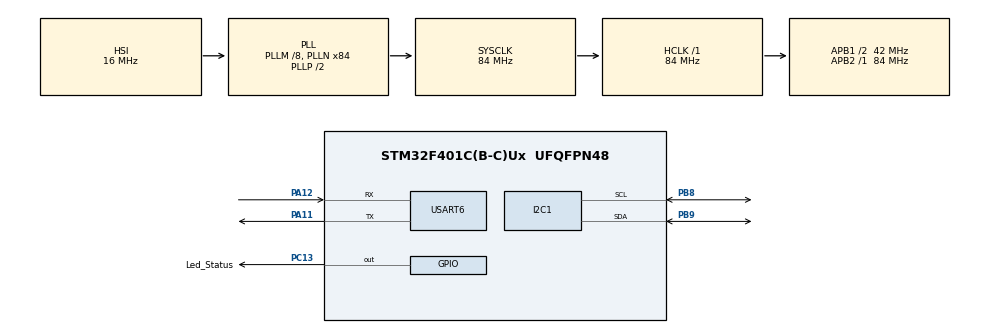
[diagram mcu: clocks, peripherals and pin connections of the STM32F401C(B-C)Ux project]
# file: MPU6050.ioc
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I2C1.I2C_Mode=I2C_Standard
Mcu.Family=STM32F4
Mcu.Name=STM32F401C(B-C)Ux
Mcu.Package=UFQFPN48
NVIC.PriorityGroup=NVIC_PRIORITYGROUP_4
NVIC.TIM2_IRQn=true\:0\:0\:false\:false\:true\:true\:true\:true
PA11.Mode=Asynchronous
PA11.Signal=USART6_TX
PA12.Mode=Asynchronous
PA12.Signal=USART6_RX
PA13.Mode=Serial_Wire
PA13.Signal=SYS_JTMS-SWDIO
PA14.Mode=Serial_Wire
PA14.Signal=SYS_JTCK-SWCLK
PB8.Mode=I2C
PB8.Signal=I2C1_SCL
PB9.Mode=I2C
PB9.Signal=I2C1_SDA
PC13-ANTI_TAMP.GPIO_Label=Led_Status
PC13-ANTI_TAMP.Signal=GPIO_Output
PC14-OSC32_IN.Mode=LSE-External-Oscillator
PC14-OSC32_IN.Signal=RCC_OSC32_IN
PC15-OSC32_OUT.Mode=LSE-External-Oscillator
PC15-OSC32_OUT.Signal=RCC_OSC32_OUT
PH0\ -\ OSC_IN.Mode=HSE-External-Oscillator
PH0\ -\ OSC_IN.Signal=RCC_OSC_IN
PH1\ -\ OSC_OUT.Mode=HSE-External-Oscillator
PH1\ -\ OSC_OUT.Signal=RCC_OSC_OUT
ProjectManager.HeapSize=0x200
ProjectManager.StackSize=0x400
ProjectManager.TargetToolchain=Makefile
RCC.48MHZClocksFreq_Value=42000000
RCC.AHBFreq_Value=84000000
RCC.APB1CLKDivider=RCC_HCLK_DIV2
RCC.APB1Freq_Value=42000000
RCC.APB1TimFreq_Value=84000000
RCC.APB2Freq_Value=84000000
RCC.APB2TimFreq_Value=84000000
RCC.CortexFreq_Value=84000000
RCC.HCLKFreq_Value=84000000
RCC.HSE_VALUE=25000000
RCC.HSI_VALUE=16000000
RCC.PLLM=8
RCC.PLLN=84
RCC.SYSCLKFreq_VALUE=84000000
RCC.SYSCLKSource=RCC_SYSCLKSOURCE_PLLCLK
RCC.VCOOutputFreq_Value=168000000
TIM2.AutoReloadPreload=TIM_AUTORELOAD_PRELOAD_ENABLE
TIM2.Period=10000 - 1
TIM2.Prescaler=84 - 1
USART6.VirtualMode=VM_ASYNC
VP_TIM2_VS_ClockSourceINT.Mode=Internal
board=custom

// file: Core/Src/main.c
/* USER CODE BEGIN Header */
/**
  ******************************************************************************
  * @file           : main.c
  * @brief          : Main program body
  ******************************************************************************
  * @attention
  *
  * Copyright (c) 2023 STMicroelectronics.
  * All rights reserved.
  *
  * This software is licensed under terms that can be found in the LICENSE file
  * in the root directory of this software component.
  * If no LICENSE file comes with this software, it is provided AS-IS.
  *
  ******************************************************************************
  */

// MPU6050 specs
// https://invensense.tdk.com/wp-content/uploads/2015/02/MPU-6000-Datasheet1.pdf

// MPU6050 register map
// https://invensense.tdk.com/wp-content/uploads/2015/02/MPU-6000-Register-Map1.pdf

/* USER CODE END Header */
#include "main.h"

/* USER CODE BEGIN Includes */
#include <stdio.h>
/* USER CODE END Includes */

I2C_HandleTypeDef hi2c1;

TIM_HandleTypeDef htim2;

UART_HandleTypeDef huart6;

void SystemClock_Config(void);
static void MX_GPIO_Init(void);
static void MX_I2C1_Init(void);
static void MX_USART6_UART_Init(void);
static void MX_TIM2_Init(void);

/* USER CODE BEGIN 0 */
// To get the printf function to work
int _write(int fd, char* ptr, int len) {
    HAL_UART_Transmit(&huart6, (uint8_t*)ptr, len, HAL_MAX_DELAY);
    return len;
}

// Prototype of our cpp function
void MPU6050_Kalman();

// The Callback from the timer (TIM2) at 100 Hz
void HAL_TIM_PeriodElapsedCallback(TIM_HandleTypeDef* htim)
{
    // Since this callback is called from any timer, we need to check if the interruption come from our timer
    if (htim == &htim2)
    {
        MPU6050_Kalman();
    }
}
/* USER CODE END 0 */

int main(void)
{

  /* MCU Configuration--------------------------------------------------------*/

  /* Reset of all peripherals, Initializes the Flash interface and the Systick. */
  HAL_Init();

  /* Configure the system clock */
  SystemClock_Config();

  /* Initialize all configured peripherals */
  MX_GPIO_Init();
  MX_I2C1_Init();
  MX_USART6_UART_Init();
  MX_TIM2_Init();
  /* USER CODE BEGIN 2 */
  // MPU6050 specs: https://invensense.tdk.com/wp-content/uploads/2015/02/MPU-6000-Datasheet1.pdf
  // MPU6050 register map: https://invensense.tdk.com/wp-content/uploads/2015/02/MPU-6000-Register-Map1.pdf

  // Init the I2C device
  HAL_StatusTypeDef ret = HAL_I2C_IsDeviceReady(&hi2c1, IMU_ADR_WRITE, 1, HAL_MAX_DELAY);
  if (ret != HAL_OK) printf("Failed to init device!\n");

  // Set the gyroscope scale range to +/-250 deg/s
  // Register 27 (see register map p14)
  uint8_t data = 0;
  ret = HAL_I2C_Mem_Write(&hi2c1, IMU_ADR_WRITE, 27, 1, &data, 1, HAL_MAX_DELAY);
  if (ret != HAL_OK) printf("Failed to setup gyroscope range!\n");

  // Set the accelerometer scale range to +/-2G deg/s
  // Register 28 (see register map p15)
  data = 0;
  ret = HAL_I2C_Mem_Write(&hi2c1, IMU_ADR_WRITE, 28, 1, &data, 1, HAL_MAX_DELAY);
  if (ret != HAL_OK) printf("Failed to setup accelerometer range!\n");

  // Exit sleep mode / Wake up the device. We won't receive any data when it is in sleep mode.
  // Register 107 (see register map p40)
  data = 0;
  ret = HAL_I2C_Mem_Write(&hi2c1, IMU_ADR_WRITE, 107, 1, &data, 1, HAL_MAX_DELAY);
  if (ret != HAL_OK) printf("Failed to wake up the device!\n");

  printf("MPU6050 Initialized correctly\n");
  // Little delay in case the MPU need to do some work before being able to receive data
  HAL_Delay(15);

  // Launch the timer interrupt callback
  HAL_TIM_Base_Start_IT(&htim2);

  /* USER CODE END 2 */

  /* Infinite loop */
  /* USER CODE BEGIN WHILE */
  while (1)
  {
    HAL_GPIO_TogglePin(Led_Status_GPIO_Port, Led_Status_Pin);
    HAL_Delay(75);
    /* USER CODE END WHILE */

  }
}

void SystemClock_Config(void)
{
  RCC_OscInitTypeDef RCC_OscInitStruct = {0};
  RCC_ClkInitTypeDef RCC_ClkInitStruct = {0};

  /** Configure the main internal regulator output voltage
  */
  __HAL_RCC_PWR_CLK_ENABLE();
  __HAL_PWR_VOLTAGESCALING_CONFIG(PWR_REGULATOR_VOLTAGE_SCALE2);

  /** Initializes the RCC Oscillators according to the specified parameters
  * in the RCC_OscInitTypeDef structure.
  */
  RCC_OscInitStruct.OscillatorType = RCC_OSCILLATORTYPE_HSI;
  RCC_OscInitStruct.HSIState = RCC_HSI_ON;
  RCC_OscInitStruct.HSICalibrationValue = RCC_HSICALIBRATION_DEFAULT;
  RCC_OscInitStruct.PLL.PLLState = RCC_PLL_ON;
  RCC_OscInitStruct.PLL.PLLSource = RCC_PLLSOURCE_HSI;
  RCC_OscInitStruct.PLL.PLLM = 8;
  RCC_OscInitStruct.PLL.PLLN = 84;
  RCC_OscInitStruct.PLL.PLLP = RCC_PLLP_DIV2;
  RCC_OscInitStruct.PLL.PLLQ = 4;
  if (HAL_RCC_OscConfig(&RCC_OscInitStruct) != HAL_OK)
  {
    Error_Handler();
  }

  /** Initializes the CPU, AHB and APB buses clocks
  */
  RCC_ClkInitStruct.ClockType = RCC_CLOCKTYPE_HCLK|RCC_CLOCKTYPE_SYSCLK
                              |RCC_CLOCKTYPE_PCLK1|RCC_CLOCKTYPE_PCLK2;
  RCC_ClkInitStruct.SYSCLKSource = RCC_SYSCLKSOURCE_PLLCLK;
  RCC_ClkInitStruct.AHBCLKDivider = RCC_SYSCLK_DIV1;
  RCC_ClkInitStruct.APB1CLKDivider = RCC_HCLK_DIV2;
  RCC_ClkInitStruct.APB2CLKDivider = RCC_HCLK_DIV1;

  if (HAL_RCC_ClockConfig(&RCC_ClkInitStruct, FLASH_LATENCY_2) != HAL_OK)
  {
    Error_Handler();
  }
}

static void MX_I2C1_Init(void)
{

  hi2c1.Instance = I2C1;
  hi2c1.Init.ClockSpeed = 100000;
  hi2c1.Init.DutyCycle = I2C_DUTYCYCLE_2;
  hi2c1.Init.OwnAddress1 = 0;
  hi2c1.Init.AddressingMode = I2C_ADDRESSINGMODE_7BIT;
  hi2c1.Init.DualAddressMode = I2C_DUALADDRESS_DISABLE;
  hi2c1.Init.OwnAddress2 = 0;
  hi2c1.Init.GeneralCallMode = I2C_GENERALCALL_DISABLE;
  hi2c1.Init.NoStretchMode = I2C_NOSTRETCH_DISABLE;
  if (HAL_I2C_Init(&hi2c1) != HAL_OK)
  {
    Error_Handler();
  }

}

static void MX_TIM2_Init(void)
{

  TIM_ClockConfigTypeDef sClockSourceConfig = {0};
  TIM_MasterConfigTypeDef sMasterConfig = {0};

  htim2.Instance = TIM2;
  htim2.Init.Prescaler = 84 - 1;
  htim2.Init.CounterMode = TIM_COUNTERMODE_UP;
  htim2.Init.Period = 10000 - 1;
  htim2.Init.ClockDivision = TIM_CLOCKDIVISION_DIV1;
  htim2.Init.AutoReloadPreload = TIM_AUTORELOAD_PRELOAD_ENABLE;
  if (HAL_TIM_Base_Init(&htim2) != HAL_OK)
  {
    Error_Handler();
  }
  sClockSourceConfig.ClockSource = TIM_CLOCKSOURCE_INTERNAL;
  if (HAL_TIM_ConfigClockSource(&htim2, &sClockSourceConfig) != HAL_OK)
  {
    Error_Handler();
  }
  sMasterConfig.MasterOutputTrigger = TIM_TRGO_RESET;
  sMasterConfig.MasterSlaveMode = TIM_MASTERSLAVEMODE_DISABLE;
  if (HAL_TIMEx_MasterConfigSynchronization(&htim2, &sMasterConfig) != HAL_OK)
  {
    Error_Handler();
  }

}

static void MX_USART6_UART_Init(void)
{

  huart6.Instance = USART6;
  huart6.Init.BaudRate = 115200;
  huart6.Init.WordLength = UART_WORDLENGTH_8B;
  huart6.Init.StopBits = UART_STOPBITS_1;
  huart6.Init.Parity = UART_PARITY_NONE;
  huart6.Init.Mode = UART_MODE_TX_RX;
  huart6.Init.HwFlowCtl = UART_HWCONTROL_NONE;
  huart6.Init.OverSampling = UART_OVERSAMPLING_16;
  if (HAL_UART_Init(&huart6) != HAL_OK)
  {
    Error_Handler();
  }

}

static void MX_GPIO_Init(void)
{
  GPIO_InitTypeDef GPIO_InitStruct = {0};

  /* GPIO Ports Clock Enable */
  __HAL_RCC_GPIOC_CLK_ENABLE();
  __HAL_RCC_GPIOH_CLK_ENABLE();
  __HAL_RCC_GPIOA_CLK_ENABLE();
  __HAL_RCC_GPIOB_CLK_ENABLE();

  /*Configure GPIO pin Output Level */
  HAL_GPIO_WritePin(Led_Status_GPIO_Port, Led_Status_Pin, GPIO_PIN_RESET);

  /*Configure GPIO pin : Led_Status_Pin */
  GPIO_InitStruct.Pin = Led_Status_Pin;
  GPIO_InitStruct.Mode = GPIO_MODE_OUTPUT_PP;
  GPIO_InitStruct.Pull = GPIO_NOPULL;
  GPIO_InitStruct.Speed = GPIO_SPEED_FREQ_LOW;
  HAL_GPIO_Init(Led_Status_GPIO_Port, &GPIO_InitStruct);

}

void Error_Handler(void)
{
  __disable_irq();
  while (1)
  {
  }
}
